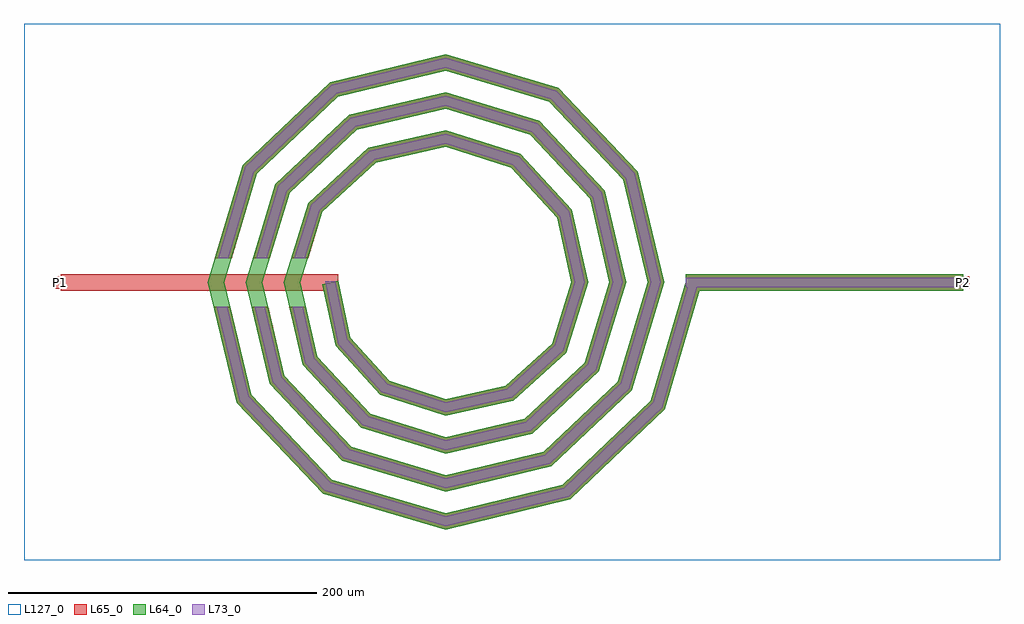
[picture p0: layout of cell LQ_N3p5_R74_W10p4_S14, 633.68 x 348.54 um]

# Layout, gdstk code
import gdstk
lib = gdstk.Library(unit=1e-6, precision=1e-09)
def R(c, l, rs):  # rectangles x0, y0, x1, y1
    for r in rs: c.add(gdstk.rectangle(r[:2], r[2:], *l))
def P(c, l, *ps):  # polygons
    for p in ps: c.add(gdstk.Polygon(p, *l))
L64_0 = (64, 0)
L65_0 = (65, 0)
L73_0 = (73, 0)
L127_0 = (127, 0)

lq_n3p5_r74_w10p4_s14 = lib.new_cell('LQ_N3p5_R74_W10p4_S14')
R(lq_n3p5_r74_w10p4_s14, L64_0, [(156.029,-5.2,336.029,5.2)])
P(lq_n3p5_r74_w10p4_s14, L64_0, [(-61.811,-35.997),(-36.566,-63.857),(0.255,-75.641),(39.064,-67.164),(69.19,-39.667),(81.81,0.237),(72.515,42.134),(42.766,74.525),(0.221,87.98),(-45.206,77.865),(-79.861,45.863),(-94.149,0.207),(-83.215,-48.279),(-48.959,-85.197),(0.195,-100.319),(51.354,-88.564),(90.535,-52.053),(106.489,0.185),(93.912,54.43),(55.147,95.873),(0.175,112.658),(-57.506,99.26),(-101.212,58.239),(-118.828,0.166),(-104.607,-60.584),(-61.331,-106.551),(0.158,-124.998),(63.662,-109.954),(111.89,-64.423),(131.168,0.151),(115.301,66.741),(67.513,117.23),(0.145,137.338),(-69.821,120.648),(-122.57,70.604),(-143.507,0.139),(-125.994,-72.901),(-73.693,-127.911),(0.133,-149.677),(75.981,-131.34),(133.251,-76.783),(156.24,1.466),(166.218,-1.466),(142.444,-82.39),(81.135,-140.793),(0.133,-160.441),(-79.309,-137.098),(-135.452,-78.045),(-154.271,0.139),(-131.751,76.229),(-74.955,130.112),(0.145,148.101),(73.149,126.405),(124.771,71.865),(141.931,0.151),(121.058,-70.07),(68.774,-119.431),(0.158,-135.761),(-66.991,-115.711),(-114.092,-65.682),(-129.591,0.166),(-110.363,63.913),(-62.59,108.752),(0.175,123.42),(60.836,105.015),(103.413,59.496),(117.25,0.185),(99.666,-57.759),(56.402,-98.075),(0.195,-111.08),(-54.684,-94.317),(-92.737,-53.307),(-104.909,0.207),(-88.967,51.61),(-50.21,87.4),(0.221,98.739),(48.537,83.616),(82.063,47.112),(92.568,0.237),(78.264,-45.466),(44.012,-76.728),(0.255,-86.398),(-42.397,-72.91),(-71.394,-40.909),(-79.934,-1.09),(-69.765,1.09)])
R(lq_n3p5_r74_w10p4_s14, L65_0, [(-249.649,-5.2,-69.649,5.2), (156.029,-5.2,336.029,5.2), (-253.649,-4,-245.649,4), (332.029,-4,340.029,4)])
P(lq_n3p5_r74_w10p4_s14, L65_0, [(-125.994,-72.901),(-73.693,-127.911),(0.133,-149.677),(75.981,-131.34),(133.251,-76.783),(156.24,1.466),(166.219,-1.466),(142.444,-82.39),(81.135,-140.793),(0.133,-160.441),(-79.309,-137.098),(-135.452,-78.046),(-150.483,-15.6),(-139.786,-15.6)],
  [(-104.607,-60.584),(-61.331,-106.551),(0.158,-124.998),(63.662,-109.954),(111.89,-64.423),(131.168,0.151),(115.301,66.741),(67.513,117.23),(0.145,137.338),(-69.821,120.648),(-122.57,70.604),(-138.849,15.6),(-149.695,15.6),(-131.751,76.229),(-74.955,130.112),(0.145,148.101),(73.149,126.405),(124.772,71.865),(141.931,0.151),(121.058,-70.07),(68.774,-119.431),(0.158,-135.761),(-66.991,-115.711),(-114.092,-65.682),(-125.88,-15.6),(-115.195,-15.6)],
  [(-83.215,-48.279),(-48.959,-85.197),(0.195,-100.319),(51.354,-88.564),(90.535,-52.053),(106.489,0.185),(93.912,54.43),(55.147,95.873),(0.175,112.658),(-57.506,99.26),(-101.212,58.239),(-114.073,15.6),(-124.935,15.6),(-110.363,63.913),(-62.59,108.752),(0.175,123.42),(60.836,105.015),(103.413,59.496),(117.25,0.185),(99.666,-57.76),(56.402,-98.075),(0.195,-111.08),(-54.684,-94.317),(-92.737,-53.307),(-101.314,-15.6),(-90.648,-15.6)],
  [(-36.566,-63.857),(0.255,-75.641),(39.064,-67.164),(69.19,-39.667),(81.81,0.237),(72.515,42.134),(42.766,74.525),(0.221,87.98),(-45.206,77.866),(-79.861,45.863),(-89.247,15.6),(-100.135,15.6),(-88.967,51.61),(-50.21,87.4),(0.221,98.739),(48.537,83.616),(82.063,47.112),(92.568,0.237),(78.264,-45.466),(44.012,-76.728),(0.255,-86.398),(-42.397,-72.91),(-71.394,-40.909),(-79.934,-1.09),(-69.765,1.09),(-61.811,-35.997)])
R(lq_n3p5_r74_w10p4_s14, L73_0, [(156.029,-3.2,336.029,3.2)])
P(lq_n3p5_r74_w10p4_s14, L73_0, [(-127.813,-73.89),(-74.773,-129.678),(0.082,-151.747),(76.972,-133.158),(135.019,-77.861),(158.159,0.902),(164.3,0.902),(140.676,-81.312),(80.144,-138.975),(0.082,-158.371),(-78.229,-135.331),(-133.633,-77.056),(-148.426,-15.6),(-141.843,-15.6)],
  [(-106.431,-61.564),(-62.42,-108.312),(0.098,-127.068),(64.645,-111.777),(113.653,-65.509),(133.238,0.093),(117.122,67.727),(68.597,118.995),(0.089,139.408),(-70.808,122.468),(-124.336,71.685),(-140.935,15.6),(-147.61,15.6),(-129.986,75.147),(-73.968,128.292),(0.089,146.031),(72.066,124.64),(122.95,70.88),(139.861,0.093),(119.295,-68.984),(67.791,-117.609),(0.098,-133.691),(-65.903,-113.949),(-112.268,-64.702),(-123.825,-15.6),(-117.25,-15.6)],
  [(-85.046,-49.246),(-50.06,-86.951),(0.12,-102.388),(52.325,-90.393),(92.291,-53.151),(108.558,0.114),(95.739,55.404),(56.241,97.631),(0.108,114.728),(-58.484,101.086),(-102.972,59.331),(-116.162,15.6),(-122.846,15.6),(-108.603,62.822),(-61.612,106.927),(0.108,121.351),(59.742,103.257),(101.586,58.522),(115.181,0.114),(97.91,-56.662),(55.431,-96.246),(0.12,-109.01),(-53.583,-92.563),(-90.906,-52.34),(-99.263,-15.6),(-92.699,-15.6)],
  [(-37.687,-65.598),(0.157,-77.71),(40.016,-69.003),(70.935,-40.782),(83.879,0.146),(74.351,43.091),(43.876,76.273),(0.136,90.049),(-46.168,79.699),(-81.612,46.968),(-91.341,15.6),(-98.041,15.6),(-87.216,50.505),(-49.248,85.566),(0.136,96.67),(47.427,81.868),(80.227,46.155),(90.499,0.146),(76.519,-44.351),(43.061,-74.889),(0.157,-84.329),(-41.275,-71.169),(-69.551,-39.965),(-77.978,0.671),(-71.72,0.671),(-63.654,-36.941)])
R(lq_n3p5_r74_w10p4_s14, L127_0, [(-273.649,-180.441,360.029,168.101)])
lq_n3p5_r74_w10p4_s14.add(gdstk.Label('P2', (336.029,0), layer=65, texttype=0))
lq_n3p5_r74_w10p4_s14.add(gdstk.Label('P1', (-249.649,0), layer=65, texttype=0))
lq_n3p5_r74_w10p4_s14.add(gdstk.Label('P2', (340.029,0), layer=145, texttype=0))
lq_n3p5_r74_w10p4_s14.add(gdstk.Label('P1', (-253.649,0), layer=145, texttype=0))

lib.write_gds('LQ_N3p5_R74_W10p4_S14.gds')
